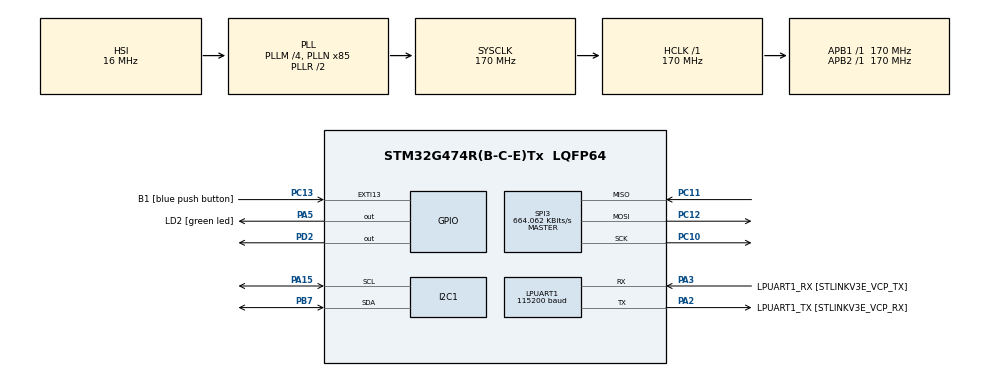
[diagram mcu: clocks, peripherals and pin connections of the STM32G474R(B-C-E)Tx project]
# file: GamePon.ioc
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Dma.I2C1_RX.0.Direction=DMA_PERIPH_TO_MEMORY
Dma.I2C1_RX.0.EventEnable=DISABLE
Dma.I2C1_RX.0.Instance=DMA1_Channel1
Dma.I2C1_RX.0.MemDataAlignment=DMA_MDATAALIGN_BYTE
Dma.I2C1_RX.0.MemInc=DMA_MINC_ENABLE
Dma.I2C1_RX.0.Mode=DMA_NORMAL
Dma.I2C1_RX.0.PeriphDataAlignment=DMA_PDATAALIGN_BYTE
Dma.I2C1_RX.0.PeriphInc=DMA_PINC_DISABLE
Dma.I2C1_RX.0.Polarity=HAL_DMAMUX_REQ_GEN_RISING
Dma.I2C1_RX.0.Priority=DMA_PRIORITY_LOW
Dma.I2C1_RX.0.RequestNumber=1
Dma.I2C1_RX.0.SignalID=NONE
Dma.I2C1_RX.0.SyncEnable=DISABLE
Dma.I2C1_RX.0.SyncPolarity=HAL_DMAMUX_SYNC_NO_EVENT
Dma.I2C1_RX.0.SyncRequestNumber=1
Dma.I2C1_RX.0.SyncSignalID=NONE
Dma.I2C1_TX.1.Direction=DMA_MEMORY_TO_PERIPH
Dma.I2C1_TX.1.EventEnable=DISABLE
Dma.I2C1_TX.1.Instance=DMA1_Channel2
Dma.I2C1_TX.1.MemDataAlignment=DMA_MDATAALIGN_BYTE
Dma.I2C1_TX.1.MemInc=DMA_MINC_ENABLE
Dma.I2C1_TX.1.Mode=DMA_NORMAL
Dma.I2C1_TX.1.PeriphDataAlignment=DMA_PDATAALIGN_BYTE
Dma.I2C1_TX.1.PeriphInc=DMA_PINC_DISABLE
Dma.I2C1_TX.1.Polarity=HAL_DMAMUX_REQ_GEN_RISING
Dma.I2C1_TX.1.Priority=DMA_PRIORITY_LOW
Dma.I2C1_TX.1.RequestNumber=1
Dma.I2C1_TX.1.SignalID=NONE
Dma.I2C1_TX.1.SyncEnable=DISABLE
Dma.I2C1_TX.1.SyncPolarity=HAL_DMAMUX_SYNC_NO_EVENT
Dma.I2C1_TX.1.SyncRequestNumber=1
Dma.I2C1_TX.1.SyncSignalID=NONE
Dma.Request0=I2C1_RX
Dma.Request1=I2C1_TX
I2C1.Timing=0x30A0A7FB
LPUART1.BaudRate=115200
LPUART1.WordLength=UART_WORDLENGTH_8B
Mcu.Family=STM32G4
Mcu.Name=STM32G474R(B-C-E)Tx
Mcu.Package=LQFP64
NVIC.DMA1_Channel1_IRQn=true\:0\:0\:false\:false\:true\:false\:true\:true
NVIC.DMA1_Channel2_IRQn=true\:0\:0\:false\:false\:true\:false\:true\:true
NVIC.EXTI15_10_IRQn=true\:0\:0\:false\:false\:true\:true\:true\:true
NVIC.I2C1_ER_IRQn=true\:0\:0\:false\:false\:true\:true\:true\:true
NVIC.I2C1_EV_IRQn=true\:0\:0\:false\:false\:true\:true\:true\:true
NVIC.PriorityGroup=NVIC_PRIORITYGROUP_4
NVIC.SPI3_IRQn=true\:0\:0\:false\:false\:true\:true\:true\:true
PA13.GPIO_Label=T_SWDIO
PA13.Mode=Serial_Wire
PA13.Signal=SYS_JTMS-SWDIO
PA14.GPIO_Label=T_SWCLK
PA14.Mode=Serial_Wire
PA14.Signal=SYS_JTCK-SWCLK
PA15.Mode=I2C
PA15.Signal=I2C1_SCL
PA2.GPIO_Label=LPUART1_TX [STLINKV3E_VCP_RX]
PA2.Mode=Asynchronous
PA2.Signal=LPUART1_TX
PA3.GPIO_Label=LPUART1_RX [STLINKV3E_VCP_TX]
PA3.Mode=Asynchronous
PA3.Signal=LPUART1_RX
PA5.GPIO_Label=LD2 [green led]
PA5.Signal=GPIO_Output
PB3.GPIO_Label=T_SWO
PB3.Signal=SYS_JTDO-SWO
PB7.Mode=I2C
PB7.Signal=I2C1_SDA
PC10.Mode=Full_Duplex_Master
PC10.Signal=SPI3_SCK
PC11.Mode=Full_Duplex_Master
PC11.Signal=SPI3_MISO
PC12.Mode=Full_Duplex_Master
PC12.Signal=SPI3_MOSI
PC13.GPIO_Label=B1 [blue push button]
PC13.Signal=GPXTI13
PC14-OSC32_IN.Mode=LSE-External-Oscillator
PC14-OSC32_IN.Signal=RCC_OSC32_IN
PC15-OSC32_OUT.Mode=LSE-External-Oscillator
PC15-OSC32_OUT.Signal=RCC_OSC32_OUT
PD2.Signal=GPIO_Output
PF0-OSC_IN.Mode=HSE-External-Oscillator
PF0-OSC_IN.Signal=RCC_OSC_IN
PF1-OSC_OUT.Mode=HSE-External-Oscillator
PF1-OSC_OUT.Signal=RCC_OSC_OUT
ProjectManager.HeapSize=0x200
ProjectManager.StackSize=0x400
ProjectManager.TargetToolchain=STM32CubeIDE
RCC.ADC12Freq_Value=170000000
RCC.ADC345Freq_Value=170000000
RCC.AHBFreq_Value=170000000
RCC.APB1Freq_Value=170000000
RCC.APB1TimFreq_Value=170000000
RCC.APB2Freq_Value=170000000
RCC.APB2TimFreq_Value=170000000
RCC.CortexFreq_Value=170000000
RCC.EXTERNAL_CLOCK_VALUE=12288000
RCC.HCLKFreq_Value=170000000
RCC.HSE_VALUE=24000000
RCC.HSI48_VALUE=48000000
RCC.HSI_VALUE=16000000
RCC.PLLM=RCC_PLLM_DIV4
RCC.PLLN=85
RCC.RTCClockSelection=RCC_RTCCLKSOURCE_LSE
RCC.SYSCLKFreq_VALUE=170000000
RCC.SYSCLKSource=RCC_SYSCLKSOURCE_PLLCLK
RCC.USBFreq_Value=170000000
RCC.VCOOutputFreq_Value=340000000
SPI3.BaudRatePrescaler=SPI_BAUDRATEPRESCALER_256
SPI3.CLKPhase=SPI_PHASE_1EDGE
SPI3.CalculateBaudRate=664.062 KBits/s
SPI3.DataSize=SPI_DATASIZE_8BIT
SPI3.Direction=SPI_DIRECTION_2LINES
SPI3.Mode=SPI_MODE_MASTER
SPI3.VirtualType=VM_MASTER
VP_SYS_VS_DBSignals.Mode=DisableDeadBatterySignals
board=NUCLEO-G474RE

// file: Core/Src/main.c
/* USER CODE BEGIN Header */
/**
  ******************************************************************************
  * @file           : main.c
  * @brief          : Main program body
  ******************************************************************************
  * @attention
  *
  * Copyright (c) 2024 STMicroelectronics.
  * All rights reserved.
  *
  * This software is licensed under terms that can be found in the LICENSE file
  * in the root directory of this software component.
  * If no LICENSE file comes with this software, it is provided AS-IS.
  *
  ******************************************************************************
  */
/* USER CODE END Header */
#include "main.h"
#include <stdio.h>
#include <stdlib.h>
#include <time.h>

/* USER CODE BEGIN PD */
#define EEPROM_ADDR 0b10100000
/* USER CODE END PD */

I2C_HandleTypeDef hi2c1;
DMA_HandleTypeDef hdma_i2c1_rx;
DMA_HandleTypeDef hdma_i2c1_tx;

UART_HandleTypeDef hlpuart1;

SPI_HandleTypeDef hspi3;

/* USER CODE BEGIN PV */
uint8_t eepromExampleWriteFlag = 0;
uint8_t eepromExampleReadFlag = 0;
uint8_t eepromDataReadBack[2];

uint8_t SPIRx[10];
uint8_t SPITx[10];
//uint8_t WhoWinBefore[2];
int State = 0 ;
int TotalScorePlayer1;
int TotalScorePlayer2;
int ScorePlayer1;
int ScorePlayer2;
int P1Finish;
int P2Finish;
int i;
int click;
int RandomNum1_1;
int RandomNum2_1;
int RandomNum1_2;
int RandomNum2_2;
int RandomNum1_3;
int RandomNum2_3;
int Round1;
int Round2;

int iterations = 10;
int StateRT;

/* USER CODE END PV */

void SystemClock_Config(void);
static void MX_GPIO_Init(void);
static void MX_DMA_Init(void);
static void MX_LPUART1_UART_Init(void);
static void MX_I2C1_Init(void);
static void MX_SPI3_Init(void);

int main(void)
{

  /* MCU Configuration--------------------------------------------------------*/

  /* Reset of all peripherals, Initializes the Flash interface and the Systick. */
  HAL_Init();

  /* Configure the system clock */
  SystemClock_Config();

  /* Initialize all configured peripherals */
  MX_GPIO_Init();
  MX_DMA_Init();
  MX_LPUART1_UART_Init();
  MX_I2C1_Init();
  MX_SPI3_Init();
  /* USER CODE BEGIN 2 */
	SPITxRx_Setup();
	Round1 = 1;
	Round2 = 1;

  /* USER CODE END 2 */

  /* Infinite loop */
  while (1)
  {

    /* USER CODE BEGIN 3 */
		RandomNum1_1 = rand() % 10;
		RandomNum2_1 = rand() % 10;
		RandomNum1_2 = rand() % 10;
		RandomNum2_2 = rand() % 10;
		RandomNum1_3 = rand() % 10;
		RandomNum2_3 = rand() % 10;

//	  EEPROMReadExample(eepromDataReadBack, 2);
//	  EEPROMWriteExample();

	  SPITxRx_readIO();

	  Switch();
	  StateGame();

  }
}
  /* USER CODE END 3 */

void SystemClock_Config(void)
{
  RCC_OscInitTypeDef RCC_OscInitStruct = {0};
  RCC_ClkInitTypeDef RCC_ClkInitStruct = {0};

  /** Configure the main internal regulator output voltage
  */
  HAL_PWREx_ControlVoltageScaling(PWR_REGULATOR_VOLTAGE_SCALE1_BOOST);

  /** Initializes the RCC Oscillators according to the specified parameters
  * in the RCC_OscInitTypeDef structure.
  */
  RCC_OscInitStruct.OscillatorType = RCC_OSCILLATORTYPE_HSI;
  RCC_OscInitStruct.HSIState = RCC_HSI_ON;
  RCC_OscInitStruct.HSICalibrationValue = RCC_HSICALIBRATION_DEFAULT;
  RCC_OscInitStruct.PLL.PLLState = RCC_PLL_ON;
  RCC_OscInitStruct.PLL.PLLSource = RCC_PLLSOURCE_HSI;
  RCC_OscInitStruct.PLL.PLLM = RCC_PLLM_DIV4;
  RCC_OscInitStruct.PLL.PLLN = 85;
  RCC_OscInitStruct.PLL.PLLP = RCC_PLLP_DIV2;
  RCC_OscInitStruct.PLL.PLLQ = RCC_PLLQ_DIV2;
  RCC_OscInitStruct.PLL.PLLR = RCC_PLLR_DIV2;
  if (HAL_RCC_OscConfig(&RCC_OscInitStruct) != HAL_OK)
  {
    Error_Handler();
  }

  /** Initializes the CPU, AHB and APB buses clocks
  */
  RCC_ClkInitStruct.ClockType = RCC_CLOCKTYPE_HCLK|RCC_CLOCKTYPE_SYSCLK
                              |RCC_CLOCKTYPE_PCLK1|RCC_CLOCKTYPE_PCLK2;
  RCC_ClkInitStruct.SYSCLKSource = RCC_SYSCLKSOURCE_PLLCLK;
  RCC_ClkInitStruct.AHBCLKDivider = RCC_SYSCLK_DIV1;
  RCC_ClkInitStruct.APB1CLKDivider = RCC_HCLK_DIV1;
  RCC_ClkInitStruct.APB2CLKDivider = RCC_HCLK_DIV1;

  if (HAL_RCC_ClockConfig(&RCC_ClkInitStruct, FLASH_LATENCY_4) != HAL_OK)
  {
    Error_Handler();
  }
}

static void MX_I2C1_Init(void)
{

  hi2c1.Instance = I2C1;
  hi2c1.Init.Timing = 0x30A0A7FB;
  hi2c1.Init.OwnAddress1 = 0;
  hi2c1.Init.AddressingMode = I2C_ADDRESSINGMODE_7BIT;
  hi2c1.Init.DualAddressMode = I2C_DUALADDRESS_DISABLE;
  hi2c1.Init.OwnAddress2 = 0;
  hi2c1.Init.OwnAddress2Masks = I2C_OA2_NOMASK;
  hi2c1.Init.GeneralCallMode = I2C_GENERALCALL_DISABLE;
  hi2c1.Init.NoStretchMode = I2C_NOSTRETCH_DISABLE;
  if (HAL_I2C_Init(&hi2c1) != HAL_OK)
  {
    Error_Handler();
  }

  /** Configure Analogue filter
  */
  if (HAL_I2CEx_ConfigAnalogFilter(&hi2c1, I2C_ANALOGFILTER_ENABLE) != HAL_OK)
  {
    Error_Handler();
  }

  /** Configure Digital filter
  */
  if (HAL_I2CEx_ConfigDigitalFilter(&hi2c1, 0) != HAL_OK)
  {
    Error_Handler();
  }

}

static void MX_LPUART1_UART_Init(void)
{

  hlpuart1.Instance = LPUART1;
  hlpuart1.Init.BaudRate = 115200;
  hlpuart1.Init.WordLength = UART_WORDLENGTH_8B;
  hlpuart1.Init.StopBits = UART_STOPBITS_1;
  hlpuart1.Init.Parity = UART_PARITY_NONE;
  hlpuart1.Init.Mode = UART_MODE_TX_RX;
  hlpuart1.Init.HwFlowCtl = UART_HWCONTROL_NONE;
  hlpuart1.Init.OneBitSampling = UART_ONE_BIT_SAMPLE_DISABLE;
  hlpuart1.Init.ClockPrescaler = UART_PRESCALER_DIV1;
  hlpuart1.AdvancedInit.AdvFeatureInit = UART_ADVFEATURE_NO_INIT;
  if (HAL_UART_Init(&hlpuart1) != HAL_OK)
  {
    Error_Handler();
  }
  if (HAL_UARTEx_SetTxFifoThreshold(&hlpuart1, UART_TXFIFO_THRESHOLD_1_8) != HAL_OK)
  {
    Error_Handler();
  }
  if (HAL_UARTEx_SetRxFifoThreshold(&hlpuart1, UART_RXFIFO_THRESHOLD_1_8) != HAL_OK)
  {
    Error_Handler();
  }
  if (HAL_UARTEx_DisableFifoMode(&hlpuart1) != HAL_OK)
  {
    Error_Handler();
  }

}

static void MX_SPI3_Init(void)
{

  /* SPI3 parameter configuration*/
  hspi3.Instance = SPI3;
  hspi3.Init.Mode = SPI_MODE_MASTER;
  hspi3.Init.Direction = SPI_DIRECTION_2LINES;
  hspi3.Init.DataSize = SPI_DATASIZE_8BIT;
  hspi3.Init.CLKPolarity = SPI_POLARITY_LOW;
  hspi3.Init.CLKPhase = SPI_PHASE_1EDGE;
  hspi3.Init.NSS = SPI_NSS_SOFT;
  hspi3.Init.BaudRatePrescaler = SPI_BAUDRATEPRESCALER_256;
  hspi3.Init.FirstBit = SPI_FIRSTBIT_MSB;
  hspi3.Init.TIMode = SPI_TIMODE_DISABLE;
  hspi3.Init.CRCCalculation = SPI_CRCCALCULATION_DISABLE;
  hspi3.Init.CRCPolynomial = 7;
  hspi3.Init.CRCLength = SPI_CRC_LENGTH_DATASIZE;
  hspi3.Init.NSSPMode = SPI_NSS_PULSE_ENABLE;
  if (HAL_SPI_Init(&hspi3) != HAL_OK)
  {
    Error_Handler();
  }

}

static void MX_DMA_Init(void)
{

  /* DMA controller clock enable */
  __HAL_RCC_DMAMUX1_CLK_ENABLE();
  __HAL_RCC_DMA1_CLK_ENABLE();

  /* DMA interrupt init */
  /* DMA1_Channel1_IRQn interrupt configuration */
  HAL_NVIC_SetPriority(DMA1_Channel1_IRQn, 0, 0);
  HAL_NVIC_EnableIRQ(DMA1_Channel1_IRQn);
  /* DMA1_Channel2_IRQn interrupt configuration */
  HAL_NVIC_SetPriority(DMA1_Channel2_IRQn, 0, 0);
  HAL_NVIC_EnableIRQ(DMA1_Channel2_IRQn);

}

static void MX_GPIO_Init(void)
{
  GPIO_InitTypeDef GPIO_InitStruct = {0};

  /* GPIO Ports Clock Enable */
  __HAL_RCC_GPIOC_CLK_ENABLE();
  __HAL_RCC_GPIOF_CLK_ENABLE();
  __HAL_RCC_GPIOA_CLK_ENABLE();
  __HAL_RCC_GPIOD_CLK_ENABLE();
  __HAL_RCC_GPIOB_CLK_ENABLE();

  /*Configure GPIO pin Output Level */
  HAL_GPIO_WritePin(LD2_GPIO_Port, LD2_Pin, GPIO_PIN_RESET);

  /*Configure GPIO pin Output Level */
  HAL_GPIO_WritePin(GPIOD, GPIO_PIN_2, GPIO_PIN_RESET);

  /*Configure GPIO pin : B1_Pin */
  GPIO_InitStruct.Pin = B1_Pin;
  GPIO_InitStruct.Mode = GPIO_MODE_IT_RISING;
  GPIO_InitStruct.Pull = GPIO_NOPULL;
  HAL_GPIO_Init(B1_GPIO_Port, &GPIO_InitStruct);

  /*Configure GPIO pin : LD2_Pin */
  GPIO_InitStruct.Pin = LD2_Pin;
  GPIO_InitStruct.Mode = GPIO_MODE_OUTPUT_PP;
  GPIO_InitStruct.Pull = GPIO_NOPULL;
  GPIO_InitStruct.Speed = GPIO_SPEED_FREQ_LOW;
  HAL_GPIO_Init(LD2_GPIO_Port, &GPIO_InitStruct);

  /*Configure GPIO pin : PD2 */
  GPIO_InitStruct.Pin = GPIO_PIN_2;
  GPIO_InitStruct.Mode = GPIO_MODE_OUTPUT_PP;
  GPIO_InitStruct.Pull = GPIO_NOPULL;
  GPIO_InitStruct.Speed = GPIO_SPEED_FREQ_LOW;
  HAL_GPIO_Init(GPIOD, &GPIO_InitStruct);

  /* EXTI interrupt init*/
  HAL_NVIC_SetPriority(EXTI15_10_IRQn, 0, 0);
  HAL_NVIC_EnableIRQ(EXTI15_10_IRQn);

}

/* USER CODE BEGIN 4 */
void EEPROMWriteExample() {
	if (eepromExampleWriteFlag && hi2c1.State == HAL_I2C_STATE_READY) {
	static uint8_t data[2] = {0x50, 1};
	HAL_I2C_Mem_Write_IT(&hi2c1, EEPROM_ADDR, 0x2C, I2C_MEMADD_SIZE_16BIT,data, 2);
		eepromExampleWriteFlag = 0;
	}
}

void EEPROMReadExample(uint8_t *Rdata, uint16_t len) {
	if (eepromExampleReadFlag && hi2c1.State == HAL_I2C_STATE_READY) {
		HAL_I2C_Mem_Read_IT(&hi2c1, EEPROM_ADDR, 0x2C, I2C_MEMADD_SIZE_16BIT,Rdata, len);
		eepromExampleReadFlag = 0;
	}
}

void SPITxRx_Setup() {
//CS pulse
	HAL_GPIO_WritePin(GPIOD, GPIO_PIN_2, 0); // CS Select
	HAL_Delay(1);
	HAL_GPIO_WritePin(GPIOD, GPIO_PIN_2, 1); // CS deSelect
	HAL_Delay(1);
}
void SPITxRx_readIO() {
	if (HAL_GPIO_ReadPin(GPIOD, GPIO_PIN_2)) {
		if (StateRT == 0){
		HAL_GPIO_WritePin(GPIOD, GPIO_PIN_2, 0); // CS Select
		SPITx[0] = 0b01000001; //what to do receive or transmit (1 == receive)
		SPITx[1] = 0x12; //address
		SPITx[2] = 0;
		}
		else if (StateRT == 1){
			LED();
		}
		HAL_SPI_TransmitReceive_IT(&hspi3, SPITx, SPIRx, 3);
	}
}

void WriteLED(){
	HAL_GPIO_WritePin(GPIOD, GPIO_PIN_2, 0);
	SPITx[0] = 0b01000000;//write
	SPITx[1] = 0x01;//IODIRB
	SPITx[2] = 0b00000000;
	HAL_SPI_TransmitReceive_IT(&hspi3, SPITx, SPIRx, 3);
}

void HAL_SPI_TxRxCpltCallback(SPI_HandleTypeDef *hspi) {
	StateRT+=1;
		if (StateRT>1)
		{
			StateRT = 0;
		}
	HAL_GPIO_WritePin(GPIOD, GPIO_PIN_2, 1); //CS dnSelect
}

void Switch()
{
	if (SPIRx[2] == 15){
		click = 0;
	}
		if (click == 0) {
			if (SPIRx[2] == 7) // Button 1 pressed (0000 0001) P1 hit
					{
				if (Round1 == 1) {
					click = 1;
					ScorePlayer1 += RandomNum1_1; // Random the number
					Round1 += 1;
				} else if (Round1 == 2) {
					click = 1;
					ScorePlayer1 += RandomNum1_2; // Random the number
					Round1 += 1;
				} else if (Round1 == 3) {
					click = 1;
					ScorePlayer1 += RandomNum1_3; // Random the number
					Round1 = 4;
				}

			} else if (SPIRx[2] == 11) // Button 2 pressed (0000 0010) P1 stand
					{
				click = 1;
				P1Finish = 1;
				P2Finish = 1;
			} else if (SPIRx[2] == 13) // Button 3 pressed (0000 0100) P2 hit
					{
				if (Round2 == 1) {
					click = 1;
					ScorePlayer2 += RandomNum2_1; // Random the number
					Round2 += 1;
				} else if (Round2 == 2) {
					click = 1;
					ScorePlayer2 += RandomNum2_2; // Random the number
					Round2 += 1;
				} else if (Round2 == 3) {
					click = 1;
					ScorePlayer2 += RandomNum2_3; // Random the number
					Round2 = 4;
				}
			} else if (SPIRx[2] == 14) // Button 4 pressed (0000 1000) P2 stand
					{
				click = 1;
				eepromExampleWriteFlag = 1;
				eepromExampleReadFlag = 1;
				EEPROMReadExample(eepromDataReadBack, 2);

		}
	}
}

void StateGame(){
	if (P1Finish == 1 && P2Finish == 1){
		TotalScorePlayer1 = ScorePlayer1 ;
		TotalScorePlayer2 = ScorePlayer2 ;
		if (TotalScorePlayer1 == TotalScorePlayer2) {
				State = 3; //Tie
			if (eepromExampleWriteFlag && hi2c1.State == HAL_I2C_STATE_READY) {
				static uint8_t data[2] = { 0x50, 0x54 };
				HAL_I2C_Mem_Write_IT(&hi2c1, EEPROM_ADDR, 0x2C,
						I2C_MEMADD_SIZE_16BIT, data, 2);
				eepromExampleWriteFlag = 0;
			}
			}
		else if (TotalScorePlayer1 > 21 && TotalScorePlayer2 > 21) {
				State = 3; //Tie
			if (eepromExampleWriteFlag && hi2c1.State == HAL_I2C_STATE_READY) {
				static uint8_t data[2] = { 0x50, 0x54 };
				HAL_I2C_Mem_Write_IT(&hi2c1, EEPROM_ADDR, 0x2C,
				I2C_MEMADD_SIZE_16BIT, data, 2);
				eepromExampleWriteFlag = 0;
			}
		}
		else if (TotalScorePlayer1 > TotalScorePlayer2 && TotalScorePlayer1 <= 21) {
				State = 1; //Player1Win
				if (eepromExampleWriteFlag
						&& hi2c1.State == HAL_I2C_STATE_READY) {
					static uint8_t data[2] = { 0x50, 1 };
					HAL_I2C_Mem_Write_IT(&hi2c1, EEPROM_ADDR, 0x2C,
					I2C_MEMADD_SIZE_16BIT, data, 2);
					eepromExampleWriteFlag = 0;
				}
		}
		else if (TotalScorePlayer2 > TotalScorePlayer1 && TotalScorePlayer2 <= 21) {
				State = 2; //Player2Win
					if (eepromExampleWriteFlag
							&& hi2c1.State == HAL_I2C_STATE_READY) {
						static uint8_t data[2] = { 0x50, 2 };
						HAL_I2C_Mem_Write_IT(&hi2c1, EEPROM_ADDR, 0x2C,
						I2C_MEMADD_SIZE_16BIT, data, 2);
						eepromExampleWriteFlag = 0;
					}
			}
		else if (TotalScorePlayer2 >21 && TotalScorePlayer1 < 21 || TotalScorePlayer1 == 21  ) {
				State = 1; //Player1Win
					if (eepromExampleWriteFlag
							&& hi2c1.State == HAL_I2C_STATE_READY) {
						static uint8_t data[2] = { 0x50, 1 };
						HAL_I2C_Mem_Write_IT(&hi2c1, EEPROM_ADDR, 0x2C,
						I2C_MEMADD_SIZE_16BIT, data, 2);
						eepromExampleWriteFlag = 0;
					}
		}
		else if (TotalScorePlayer1 >21 && TotalScorePlayer2 < 21 || TotalScorePlayer2 == 21   ) {
			State = 2; //Player1Win
					if (eepromExampleWriteFlag
							&& hi2c1.State == HAL_I2C_STATE_READY) {
						static uint8_t data[2] = { 0x50, 2 };
						HAL_I2C_Mem_Write_IT(&hi2c1, EEPROM_ADDR, 0x2C,
						I2C_MEMADD_SIZE_16BIT, data, 2);
						eepromExampleWriteFlag = 0;
					}
				}

	}
}

void LED() {
		HAL_GPIO_WritePin(GPIOD, GPIO_PIN_2, 0);
		SPITx[0] = 0b01000000; // write
		SPITx[1] = 0x01; // OLATB
		if (State == 3) { //tie
			SPITx[2] = 0b11101111; // LED ON 4
		}
		if (State == 1) { // p1 win
			SPITx[2] = 0b10111111; // LED ON 2
		}
		if (State == 2) { //p2 win
			SPITx[2] = 0b11011111; // LED ON 3
		}
		if (State == 0) { //playing
			SPITx[2] = 0b01111111; // LED ON 1
		}
	}

/* USER CODE END 4 */

void Error_Handler(void)
{
  __disable_irq();
  while (1)
  {
  }
}
